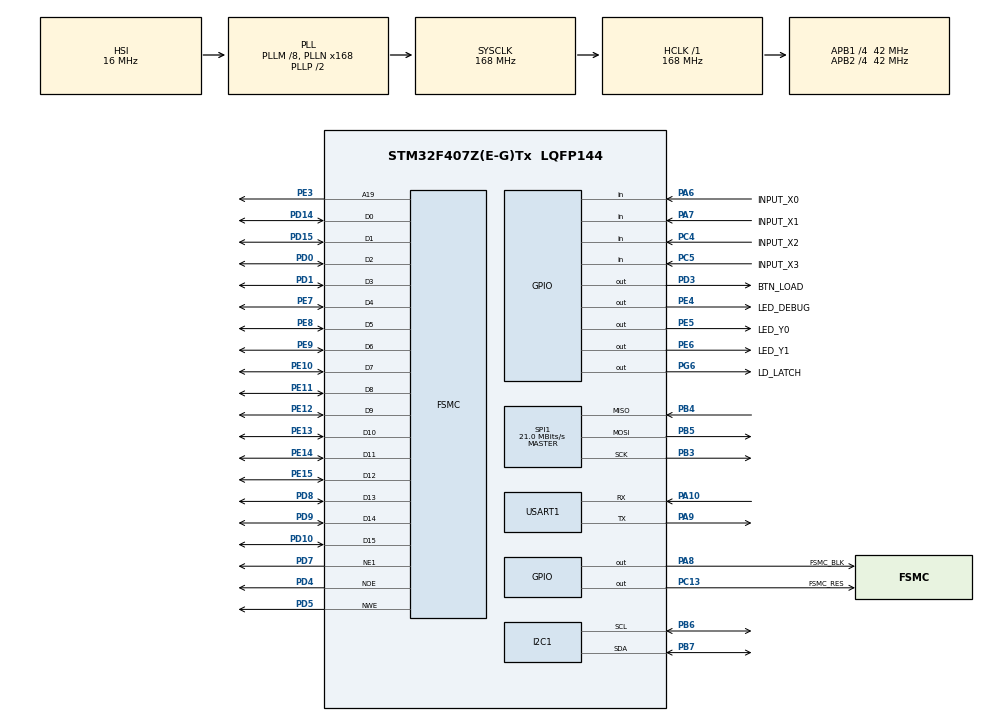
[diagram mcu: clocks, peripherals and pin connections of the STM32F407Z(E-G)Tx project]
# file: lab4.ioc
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FSMC.AddressSetupTime1=0xf
FSMC.BusTurnAroundDuration1=0
FSMC.DataSetupTime1=60
FSMC.ExtendedAddressSetupTime1=8
FSMC.ExtendedBusTurnAroundDuration1=0
FSMC.ExtendedDataSetupTime1=9
FSMC.ExtendedMode1=FSMC_EXTENDED_MODE_ENABLE
Mcu.Family=STM32F4
Mcu.Name=STM32F407Z(E-G)Tx
Mcu.Package=LQFP144
NVIC.PriorityGroup=NVIC_PRIORITYGROUP_4
NVIC.TIM2_IRQn=true\:0\:0\:false\:false\:true\:true\:true\:true
NVIC.TIM4_IRQn=true\:0\:0\:false\:false\:true\:true\:true\:true
NVIC.USART1_IRQn=true\:0\:0\:false\:false\:true\:true\:true\:true
PA10.Mode=Asynchronous
PA10.Signal=USART1_RX
PA13.Mode=Serial_Wire
PA13.Signal=SYS_JTMS-SWDIO
PA14.Mode=Serial_Wire
PA14.Signal=SYS_JTCK-SWCLK
PA6.GPIO_Label=INPUT_X0
PA6.Signal=GPIO_Input
PA7.GPIO_Label=INPUT_X1
PA7.Signal=GPIO_Input
PA8.GPIO_Label=FSMC_BLK
PA8.Signal=GPIO_Output
PA9.Mode=Asynchronous
PA9.Signal=USART1_TX
PB3.Mode=Full_Duplex_Master
PB3.Signal=SPI1_SCK
PB4.Mode=Full_Duplex_Master
PB4.Signal=SPI1_MISO
PB5.Mode=Full_Duplex_Master
PB5.Signal=SPI1_MOSI
PB6.Mode=I2C
PB6.Signal=I2C1_SCL
PB7.Mode=I2C
PB7.Signal=I2C1_SDA
PC13-ANTI_TAMP.GPIO_Label=FSMC_RES
PC13-ANTI_TAMP.Signal=GPIO_Output
PC4.GPIO_Label=INPUT_X2
PC4.Signal=GPIO_Input
PC5.GPIO_Label=INPUT_X3
PC5.Signal=GPIO_Input
PD0.Signal=FSMC_D2_DA2
PD1.Signal=FSMC_D3_DA3
PD10.Signal=FSMC_D15_DA15
PD14.Signal=FSMC_D0_DA0
PD15.Signal=FSMC_D1_DA1
PD3.GPIO_Label=BTN_LOAD
PD3.Signal=GPIO_Output
PD4.Signal=FSMC_NOE
PD5.Signal=FSMC_NWE
PD7.Mode=NorPsramChipSelect1_1
PD7.Signal=FSMC_NE1
PD8.Signal=FSMC_D13_DA13
PD9.Signal=FSMC_D14_DA14
PE10.Signal=FSMC_D7_DA7
PE11.Signal=FSMC_D8_DA8
PE12.Signal=FSMC_D9_DA9
PE13.Signal=FSMC_D10_DA10
PE14.Signal=FSMC_D11_DA11
PE15.Signal=FSMC_D12_DA12
PE3.Signal=FSMC_A19
PE4.GPIO_Label=LED_DEBUG
PE4.Signal=GPIO_Output
PE5.GPIO_Label=LED_Y0
PE5.Signal=GPIO_Output
PE6.GPIO_Label=LED_Y1
PE6.Signal=GPIO_Output
PE7.Signal=FSMC_D4_DA4
PE8.Signal=FSMC_D5_DA5
PE9.Signal=FSMC_D6_DA6
PG6.GPIO_Label=LD_LATCH
PG6.Signal=GPIO_Output
PH0-OSC_IN.Mode=HSE-External-Oscillator
PH0-OSC_IN.Signal=RCC_OSC_IN
PH1-OSC_OUT.Mode=HSE-External-Oscillator
PH1-OSC_OUT.Signal=RCC_OSC_OUT
ProjectManager.HeapSize=0x200
ProjectManager.StackSize=0x400
ProjectManager.TargetToolchain=STM32CubeIDE
RCC.48MHZClocksFreq_Value=84000000
RCC.AHBFreq_Value=168000000
RCC.APB1CLKDivider=RCC_HCLK_DIV4
RCC.APB1Freq_Value=42000000
RCC.APB1TimFreq_Value=84000000
RCC.APB2CLKDivider=RCC_HCLK_DIV4
RCC.APB2Freq_Value=42000000
RCC.APB2TimFreq_Value=84000000
RCC.CortexFreq_Value=168000000
RCC.HCLKFreq_Value=168000000
RCC.HSE_VALUE=8000000
RCC.HSI_VALUE=16000000
RCC.LSE_VALUE=32768
RCC.PLLM=8
RCC.PLLN=168
RCC.SYSCLKFreq_VALUE=168000000
RCC.SYSCLKSource=RCC_SYSCLKSOURCE_PLLCLK
RCC.VCOOutputFreq_Value=336000000
SH.FSMC_A19.0=FSMC_A19,A19_1
SH.FSMC_D0_DA0.0=FSMC_D0,16b-d1
SH.FSMC_D10_DA10.0=FSMC_D10,16b-d1
SH.FSMC_D11_DA11.0=FSMC_D11,16b-d1
SH.FSMC_D12_DA12.0=FSMC_D12,16b-d1
SH.FSMC_D13_DA13.0=FSMC_D13,16b-d1
SH.FSMC_D14_DA14.0=FSMC_D14,16b-d1
SH.FSMC_D15_DA15.0=FSMC_D15,16b-d1
SH.FSMC_D1_DA1.0=FSMC_D1,16b-d1
SH.FSMC_D2_DA2.0=FSMC_D2,16b-d1
SH.FSMC_D3_DA3.0=FSMC_D3,16b-d1
SH.FSMC_D4_DA4.0=FSMC_D4,16b-d1
SH.FSMC_D5_DA5.0=FSMC_D5,16b-d1
SH.FSMC_D6_DA6.0=FSMC_D6,16b-d1
SH.FSMC_D7_DA7.0=FSMC_D7,16b-d1
SH.FSMC_D8_DA8.0=FSMC_D8,16b-d1
SH.FSMC_D9_DA9.0=FSMC_D9,16b-d1
SH.FSMC_NOE.0=FSMC_NOE,Lcd1
SH.FSMC_NWE.0=FSMC_NWE,Lcd1
SPI1.CalculateBaudRate=21.0 MBits/s
SPI1.Direction=SPI_DIRECTION_2LINES
SPI1.Mode=SPI_MODE_MASTER
SPI1.VirtualType=VM_MASTER
TIM2.Period=10-1
TIM2.Prescaler=8400-1
TIM4.Period=10-1
TIM4.Prescaler=8400-1
USART1.VirtualMode=VM_ASYNC
VP_TIM2_VS_ClockSourceINT.Mode=Internal
VP_TIM4_VS_ClockSourceINT.Mode=Internal
board=custom

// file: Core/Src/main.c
/* USER CODE BEGIN Header */
/**
  ******************************************************************************
  * @file           : main.c
  * @brief          : Main program body
  ******************************************************************************
  * @attention
  *
  * Copyright (c) 2024 STMicroelectronics.
  * All rights reserved.
  *
  * This software is licensed under terms that can be found in the LICENSE file
  * in the root directory of this software component.
  * If no LICENSE file comes with this software, it is provided AS-IS.
  *
  ******************************************************************************
  */
/* USER CODE END Header */
#include "main.h"
#include "i2c.h"
#include "spi.h"
#include "tim.h"
#include "usart.h"
#include "gpio.h"
#include "fsmc.h"

/* USER CODE BEGIN Includes */
#include "sTimer.h"
#include "ds3231.h"
#include "lcd.h"
#include "led7Seg.h"
#include "button.h"
#include <math.h>
#include <string.h>
#include <stdint.h>

/* USER CODE END Includes */

/* USER CODE BEGIN PD */
#define PI 3.14159265358979323846

/* USER CODE END PD */

void SystemClock_Config(void);
/* USER CODE BEGIN PFP */
void debugSystem(void);
void initSystem(void);
void displayClock(int x_coor, int y_coor, int radius);
void displayLocation(int y_coor, char *str, char *GMT_str, uint8_t char_size);

float displaySecClockwise(int x_coor, int y_coor, int length, const uint8_t *second, uint16_t color);
float displayMinClockwise(int x_coor, int y_coor, int length, const uint8_t *second, const uint8_t *minute, uint16_t color);
float displayHourClockwise(int x_coor, int y_coor, int length, const uint8_t *minute, const uint8_t *hour, uint16_t color);

void displayTime(int x_coor, int y_coor, const uint8_t *second, const uint8_t *minute, const uint8_t *hour,
		uint8_t char_size, uint16_t color_sec, uint16_t color_min, uint16_t color_hour);
void displayDate(int x_coor, int y_coor, const uint8_t *date, const uint8_t *month, const uint16_t *year,
		uint8_t char_size, uint16_t color_date, uint16_t color_month, uint16_t color_year);
void displayTemp(int x_coor, int y_coor, float temperature, uint8_t char_size, uint16_t color_temp);
void displayDay(int x_coor, int y_coor, const uint8_t *day, uint8_t char_size, uint16_t color_day);

void displayTimeLed7Seg(const uint8_t *second, const uint8_t *minute, const uint8_t *hour);
void setTime(uint8_t *second, uint8_t *minute, uint8_t *hour, uint8_t *day, uint8_t *date, uint8_t *month, uint16_t *year);
void setAlarm1(uint8_t second, uint8_t minute, uint8_t hour, uint8_t day, uint8_t date);
void setAlarm2(uint8_t minute, uint8_t hour, uint8_t day, uint8_t date);

void increaseSec(void);
void decreaseSec(void);
void increaseMin(void);
void decreaseMin(void);
void increaseHour(void);
void decreaseHour(void);
void increaseDay(void);
void decreaseDay(void);
void increaseDate(void);
void decreaseDate(void);
void increaseMonth(void);
void decreaseMonth(void);
void increaseYear(void);
void decreaseYear(void);
int getDaysInMonth(int month, int year);

/* USER CODE END PFP */

/* USER CODE BEGIN 0 */
enum State
{
    Mode_init,
    Mode_word_clock,
	Mode_login,
    Mode_config_time,
    Mode_config_alarm,
	Mode_stopwatch,
	Mode_timers,
	Mode_monitor_register
};
enum State current_mode = Mode_init;
enum State previous_mode = Mode_init;

enum State_config
{
	Mode_config_second,
	Mode_config_minute,
	Mode_config_hour,
	Mode_config_day,
	Mode_config_date,
	Mode_config_month,
	Mode_config_year
};
enum State_config current_mode_config = Mode_config_second;
enum State_config previous_mode_config = Mode_config_minute;

/* USER CODE END 0 */

int main(void)
{

  /* MCU Configuration--------------------------------------------------------*/

  /* Reset of all peripherals, Initializes the Flash interface and the Systick. */
  HAL_Init();

  /* Configure the system clock */
  SystemClock_Config();

  /* Initialize all configured peripherals */
  MX_GPIO_Init();
  MX_TIM2_Init();
  MX_TIM4_Init();
  MX_SPI1_Init();
  MX_FSMC_Init();
  MX_I2C1_Init();
  MX_USART1_UART_Init();
  /* USER CODE BEGIN 2 */
  initSystem();

  sTimer4Set(1000, 50); // interrupt every 50ms
  sTimer2Set(0, 500); // interrupt every 500ms

  int clock_radius = 100;

  /* USER CODE END 2 */

  /* Infinite loop */
  /* USER CODE BEGIN WHILE */
  while (1)
  {
	  if(sTimer4GetFlag())
	  {
		  buttonScan();
		  led7SegDisplay();
	  }

	  switch (current_mode)
	  {
	  case Mode_init:
	  {
		  led7SegSetColon(1);
		  setTime(&set_time.second, &set_time.minute, &set_time.hour, &set_time.day, &set_time.date, &set_time.month, &set_time.year);

		  current_time.alarm_on = false;

		  current_mode = Mode_config_time;

		  break;
	  }
	  case Mode_word_clock:
	  {
		  if(previous_mode != current_mode)
		  {
			  lcdClear(WHITE);
			  clock_radius = 100;
			  displayClock(LCD_WIDTH / 2, 110, clock_radius);

			  (void)displaySecClockwise(LCD_WIDTH / 2, 110, clock_radius - 30, &current_time.second, BLUE);
			  (void)displayMinClockwise(LCD_WIDTH / 2, 110, clock_radius - 40, &current_time.second, &current_time.minute, BLACK);
			  (void)displayHourClockwise(LCD_WIDTH / 2, 110, clock_radius - 50, &current_time.minute, &current_time.hour, RED);

			  displayTime(LCD_WIDTH / 2, 240, &current_time.second, &current_time.minute, &current_time.hour, 32, BLACK, BLACK, BLACK);
			  displayDate(LCD_WIDTH / 2, 240 + 32, &current_time.date, &current_time.month, &current_time.year, 24, DARKBLUE, DARKBLUE, DARKBLUE);
			  displayDay(20, 320 - 10 - 24, &current_time.day, 24, RED);

			  previous_mode = current_mode;
		  }

		  if(sTimer2GetFlag())
		  {
			  debugSystem();

			  ds3231ReadTime();

			  (void)displaySecClockwise(LCD_WIDTH / 2, 110, clock_radius - 30, &current_time.second, BLUE);
			  (void)displayMinClockwise(LCD_WIDTH / 2, 110, clock_radius - 40, &current_time.second, &current_time.minute, BLACK);
			  (void)displayHourClockwise(LCD_WIDTH / 2, 110, clock_radius - 50, &current_time.minute, &current_time.hour, RED);

			  displayTime(LCD_WIDTH / 2, 240, &current_time.second, &current_time.minute, &current_time.hour, 32, BLACK, BLACK, BLACK);
			  if(current_time.second == 0 && current_time.minute == 0 && current_time.hour == 0)
			  {
				  displayDate(LCD_WIDTH / 2, 240 + 32, &current_time.date, &current_time.month, &current_time.year, 24, DARKBLUE, DARKBLUE, DARKBLUE);
				  displayDay(20, 320 - 34, &current_time.day, 24, RED);
			  }

			  displayTimeLed7Seg(&current_time.second, &current_time.minute, &current_time.hour);
		  }

		  if(button_count[12] == 1)
		  {
			  current_mode = Mode_config_time;
			  button_count[12] += 1;
		  }

		  break;
	  }
	  case Mode_config_time:
	  {
		  if(previous_mode != current_mode)
		  {
			  ds3231ReadTime();
			  set_time.second = current_time.second;
			  set_time.minute = current_time.minute;
			  set_time.hour = current_time.hour;
			  set_time.day = current_time.day;
			  set_time.date = current_time.date;
			  set_time.month = current_time.month;
			  set_time.year = current_time.year;

			  lcdClear(WHITE);
			  clock_radius = 100;
			  displayClock(LCD_WIDTH / 2, 110, clock_radius);

			  current_mode_config = Mode_config_second;
			  previous_mode_config = Mode_config_minute;

			  previous_mode = current_mode;
		  }

		  switch (current_mode_config)
		  {
			case Mode_config_second:
			{
				if(previous_mode_config != current_mode_config)
				{
					(void)displayMinClockwise(LCD_WIDTH / 2, 110, clock_radius - 40, &set_time.second, &set_time.minute, BLACK);
					(void)displayHourClockwise(LCD_WIDTH / 2, 110, clock_radius - 50, &set_time.minute, &set_time.hour, BLUE);
					(void)displaySecClockwise(LCD_WIDTH / 2, 110, clock_radius - 30, &set_time.second, RED);

					displayTime(LCD_WIDTH / 2, 240, &set_time.second, &set_time.minute, &set_time.hour, 32, RED, BLACK, BLACK);
					displayDate(LCD_WIDTH / 2, 240 + 32, &set_time.date, &set_time.month, &set_time.year, 24, DARKBLUE, DARKBLUE, DARKBLUE);
					displayDay(20, 320 - 10 - 24, &set_time.day, 24, DARKBLUE);

					displayTimeLed7Seg(&set_time.second, &set_time.minute, &set_time.hour);

					previous_mode_config = current_mode_config;
				}

				if(sTimer2GetFlag())
				{
					static int counter = 0;
					counter += 1;

					if(counter % 4 == 0)
					{
						led7SegDebugTurnOff(6);
						led7SegDebugTurnOff(7);
						led7SegDebugTurnOff(8);
					}
					else if(counter % 2 == 0)
					{
						displayTimeLed7Seg(&set_time.second, &set_time.minute, &set_time.hour);
					}
				}

				if(button_count[11] % 30 == 1) // check button is held 1.5 second
				{
					current_mode_config = Mode_config_minute;
					button_count[11] += 1;
				}
				else if(button_count[3] % 20 == 1)
				{
					increaseSec();

					(void)displayMinClockwise(LCD_WIDTH / 2, 110, clock_radius - 40, &set_time.second, &set_time.minute, BLACK);
					(void)displayHourClockwise(LCD_WIDTH / 2, 110, clock_radius - 50, &set_time.minute, &set_time.hour, BLUE);
					(void)displaySecClockwise(LCD_WIDTH / 2, 110, clock_radius - 30, &set_time.second, RED);

				    displayTime(LCD_WIDTH / 2, 240, &set_time.second, &set_time.minute, &set_time.hour, 32, RED, BLACK, BLACK);

					button_count[3] += 1;
				}
				else if(button_count[7] % 20 == 1)
				{
					decreaseSec();

					(void)displayMinClockwise(LCD_WIDTH / 2, 110, clock_radius - 40, &set_time.second, &set_time.minute, BLACK);
					(void)displayHourClockwise(LCD_WIDTH / 2, 110, clock_radius - 50, &set_time.minute, &set_time.hour, BLUE);
					(void)displaySecClockwise(LCD_WIDTH / 2, 110, clock_radius - 30, &set_time.second, RED);

				    displayTime(LCD_WIDTH / 2, 240, &set_time.second, &set_time.minute, &set_time.hour, 32, RED, BLACK, BLACK);

					button_count[7] += 1;
				}

				break;
			}
			case Mode_config_minute:
			{
				if(previous_mode_config != current_mode_config)
				{
					(void)displaySecClockwise(LCD_WIDTH / 2, 110, clock_radius - 30, &set_time.second, BLACK);
					(void)displayHourClockwise(LCD_WIDTH / 2, 110, clock_radius - 50, &set_time.minute, &set_time.hour, BLUE);
					(void)displayMinClockwise(LCD_WIDTH / 2, 110, clock_radius - 40, &set_time.second, &set_time.minute, RED);

					displayTime(LCD_WIDTH / 2, 240, &set_time.second, &set_time.minute, &set_time.hour, 32, BLACK, RED, BLACK);
					displayDate(LCD_WIDTH / 2, 240 + 32, &set_time.date, &set_time.month, &set_time.year, 24, DARKBLUE, DARKBLUE, DARKBLUE);
					displayDay(20, 320 - 10 - 24, &set_time.day, 24, DARKBLUE);

					displayTimeLed7Seg(&set_time.second, &set_time.minute, &set_time.hour);

					previous_mode_config = current_mode_config;
				}

				if(sTimer2GetFlag())
				{
					static int counter = 0;
					counter += 1;

					if(counter % 4 == 0)
					{
						led7SegTurnOff(2);
						led7SegTurnOff(3);
					}
					else if(counter % 2 == 0)
					{
						displayTimeLed7Seg(&set_time.second, &set_time.minute, &set_time.hour);
					}
				}

				if(button_count[11] % 30 == 1) // check button is held 1.5 second
				{
					current_mode_config = Mode_config_hour;
					button_count[11] += 1;
				}
				else if(button_count[15] % 30 == 1)
				{
					current_mode_config = Mode_config_second;
					button_count[15] += 1;
				}
				else if(button_count[3] % 20 == 1)
				{
					increaseMin();

					(void)displaySecClockwise(LCD_WIDTH / 2, 110, clock_radius - 30, &set_time.second, BLACK);
					(void)displayHourClockwise(LCD_WIDTH / 2, 110, clock_radius - 50, &set_time.minute, &set_time.hour, BLUE);
					(void)displayMinClockwise(LCD_WIDTH / 2, 110, clock_radius - 40, &set_time.second, &set_time.minute, RED);

					displayTime(LCD_WIDTH / 2, 240, &set_time.second, &set_time.minute, &set_time.hour, 32, BLACK, RED, BLACK);

					button_count[3] += 1;
				}
				else if(button_count[7] % 20 == 1)
				{
					decreaseMin();

					(void)displaySecClockwise(LCD_WIDTH / 2, 110, clock_radius - 30, &set_time.second, BLACK);
					(void)displayHourClockwise(LCD_WIDTH / 2, 110, clock_radius - 50, &set_time.minute, &set_time.hour, BLUE);
					(void)displayMinClockwise(LCD_WIDTH / 2, 110, clock_radius - 40, &set_time.second, &set_time.minute, RED);

					displayTime(LCD_WIDTH / 2, 240, &set_time.second, &set_time.minute, &set_time.hour, 32, BLACK, RED, BLACK);

					button_count[7] += 1;
				}

				break;
			}
			case Mode_config_hour:
			{
				if(previous_mode_config != current_mode_config)
				{
					(void)displaySecClockwise(LCD_WIDTH / 2, 110, clock_radius - 30, &set_time.second, BLACK);
					(void)displayMinClockwise(LCD_WIDTH / 2, 110, clock_radius - 40, &set_time.second, &set_time.minute, BLUE);
					(void)displayHourClockwise(LCD_WIDTH / 2, 110, clock_radius - 50, &set_time.minute, &set_time.hour, RED);

					displayTime(LCD_WIDTH / 2, 240, &set_time.second, &set_time.minute, &set_time.hour, 32, BLACK, BLACK, RED);
					displayDate(LCD_WIDTH / 2, 240 + 32, &set_time.date, &set_time.month, &set_time.year, 24, DARKBLUE, DARKBLUE, DARKBLUE);
					displayDay(20, 320 - 10 - 24, &set_time.day, 24, DARKBLUE);

					displayTimeLed7Seg(&set_time.second, &set_time.minute, &set_time.hour);

					previous_mode_config = current_mode_config;
				}

				if(sTimer2GetFlag())
				{
					static int counter = 0;
					counter += 1;

					if(counter % 4 == 0)
					{
						led7SegTurnOff(0);
						led7SegTurnOff(1);
					}
					else if(counter % 2 == 0)
					{
						displayTimeLed7Seg(&set_time.second, &set_time.minute, &set_time.hour);
					}
				}

				if(button_count[11] % 30 == 1) // check button is held 1.5 second
				{
					current_mode_config = Mode_config_day;
					button_count[11] += 1;
				}
				else if(button_count[15] % 30 == 1)
				{
					current_mode_config = Mode_config_minute;
					button_count[15] += 1;
				}
				else if(button_count[3] % 20 == 1) // check button is held 1 second
				{
					increaseHour();

					(void)displaySecClockwise(LCD_WIDTH / 2, 110, clock_radius - 30, &set_time.second, BLACK);
					(void)displayMinClockwise(LCD_WIDTH / 2, 110, clock_radius - 40, &set_time.second, &set_time.minute, BLUE);
					(void)displayHourClockwise(LCD_WIDTH / 2, 110, clock_radius - 50, &set_time.minute, &set_time.hour, RED);

					displayTime(LCD_WIDTH / 2, 240, &set_time.second, &set_time.minute, &set_time.hour, 32, BLACK, BLACK, RED);

					button_count[3] += 1;
				}
				else if(button_count[7] % 20 == 1)
				{
					decreaseHour();

					(void)displaySecClockwise(LCD_WIDTH / 2, 110, clock_radius - 30, &set_time.second, BLACK);
					(void)displayMinClockwise(LCD_WIDTH / 2, 110, clock_radius - 40, &set_time.second, &set_time.minute, BLUE);
					(void)displayHourClockwise(LCD_WIDTH / 2, 110, clock_radius - 50, &set_time.minute, &set_time.hour, RED);

					displayTime(LCD_WIDTH / 2, 240, &set_time.second, &set_time.minute, &set_time.hour, 32, BLACK, BLACK, RED);

					button_count[7] += 1;
				}

				break;
			}
			case Mode_config_day:
			{
				if(previous_mode_config != current_mode_config)
				{
					(void)displaySecClockwise(LCD_WIDTH / 2, 110, clock_radius - 30, &set_time.second, BLACK);
					(void)displayMinClockwise(LCD_WIDTH / 2, 110, clock_radius - 40, &set_time.second, &set_time.minute, BLUE);
					(void)displayHourClockwise(LCD_WIDTH / 2, 110, clock_radius - 50, &set_time.minute, &set_time.hour, RED);

					displayTime(LCD_WIDTH / 2, 240, &set_time.second, &set_time.minute, &set_time.hour, 32, BLACK, BLACK, BLACK);
					displayDate(LCD_WIDTH / 2, 240 + 32, &set_time.date, &set_time.month, &set_time.year, 24, DARKBLUE, DARKBLUE, DARKBLUE);
					displayDay(20, 320 - 10 - 24, &set_time.day, 24, RED);

					displayTimeLed7Seg(&set_time.second, &set_time.minute, &set_time.hour);

					previous_mode_config = current_mode_config;
				}

				if(button_count[11] % 30 == 1) // check button is held 1.5 second
				{
					current_mode_config = Mode_config_date;
					button_count[11] += 1;
				}
				else if(button_count[15] % 30 == 1)
				{
					current_mode_config = Mode_config_hour;
					button_count[15] += 1;
				}
				else if(button_count[3] % 20 == 1) // check button is held 1 second
				{
					increaseDay();

					displayDay(20, 320 - 10 - 24, &set_time.day, 24, RED);

					button_count[3] += 1;
				}
				else if(button_count[7] % 20 == 1)
				{
					decreaseDay();

					displayDay(20, 320 - 10 - 24, &set_time.day, 24, RED);

					button_count[7] += 1;
				}

				break;
			}
			case Mode_config_date:
			{
				if(previous_mode_config != current_mode_config)
				{
					(void)displaySecClockwise(LCD_WIDTH / 2, 110, clock_radius - 30, &set_time.second, BLACK);
					(void)displayMinClockwise(LCD_WIDTH / 2, 110, clock_radius - 40, &set_time.second, &set_time.minute, BLUE);
					(void)displayHourClockwise(LCD_WIDTH / 2, 110, clock_radius - 50, &set_time.minute, &set_time.hour, RED);

					displayTime(LCD_WIDTH / 2, 240, &set_time.second, &set_time.minute, &set_time.hour, 32, BLACK, BLACK, BLACK);
					displayDate(LCD_WIDTH / 2, 240 + 32, &set_time.date, &set_time.month, &set_time.year, 24, RED, DARKBLUE, DARKBLUE);
					displayDay(20, 320 - 10 - 24, &set_time.day, 24, DARKBLUE);

					displayTimeLed7Seg(&set_time.second, &set_time.minute, &set_time.hour);

					previous_mode_config = current_mode_config;
				}

				if(button_count[11] % 30 == 1) // check button is held 1.5 second
				{
					current_mode_config = Mode_config_month;
					button_count[11] += 1;
				}
				else if(button_count[15] % 30 == 1)
				{
					current_mode_config = Mode_config_day;
					button_count[15] += 1;
				}
				else if(button_count[3] % 20 == 1) // check button is held 1 second
				{
					increaseDate();

					displayDate(LCD_WIDTH / 2, 240 + 32, &set_time.date, &set_time.month, &set_time.year, 24, RED, DARKBLUE, DARKBLUE);

					button_count[3] += 1;
				}
				else if(button_count[7] % 20 == 1)
				{
					decreaseDate();

					displayDate(LCD_WIDTH / 2, 240 + 32, &set_time.date, &set_time.month, &set_time.year, 24, RED, DARKBLUE, DARKBLUE);

					button_count[7] += 1;
				}

				break;
			}
			case Mode_config_month:
			{
				if(previous_mode_config != current_mode_config)
				{
					(void)displaySecClockwise(LCD_WIDTH / 2, 110, clock_radius - 30, &set_time.second, BLACK);
					(void)displayMinClockwise(LCD_WIDTH / 2, 110, clock_radius - 40, &set_time.second, &set_time.minute, BLUE);
					(void)displayHourClockwise(LCD_WIDTH / 2, 110, clock_radius - 50, &set_time.minute, &set_time.hour, RED);

					displayTime(LCD_WIDTH / 2, 240, &set_time.second, &set_time.minute, &set_time.hour, 32, BLACK, BLACK, BLACK);
					displayDate(LCD_WIDTH / 2, 240 + 32, &set_time.date, &set_time.month, &set_time.year, 24, DARKBLUE, RED, DARKBLUE);
					displayDay(20, 320 - 10 - 24, &set_time.day, 24, DARKBLUE);

					displayTimeLed7Seg(&set_time.second, &set_time.minute, &set_time.hour);

					previous_mode_config = current_mode_config;
				}

				if(button_count[11] % 30 == 1) // check button is held 1.5 second
				{
					current_mode_config = Mode_config_year;
					button_count[11] += 1;
				}
				else if(button_count[15] % 30 == 1)
				{
					current_mode_config = Mode_config_date;
					button_count[15] += 1;
				}
				else if(button_count[3] % 20 == 1) // check button is held 1 second
				{
					increaseMonth();

					displayDate(LCD_WIDTH / 2, 240 + 32, &set_time.date, &set_time.month, &set_time.year, 24, DARKBLUE, RED, DARKBLUE);

					button_count[3] += 1;
				}
				else if(button_count[7] % 20 == 1)
				{
					decreaseMonth();

					displayDate(LCD_WIDTH / 2, 240 + 32, &set_time.date, &set_time.month, &set_time.year, 24, DARKBLUE, RED, DARKBLUE);

					button_count[7] += 1;
				}

				break;
			}
			case Mode_config_year:
			{
				if(previous_mode_config != current_mode_config)
				{
					(void)displaySecClockwise(LCD_WIDTH / 2, 110, clock_radius - 30, &set_time.second, BLACK);
					(void)displayMinClockwise(LCD_WIDTH / 2, 110, clock_radius - 40, &set_time.second, &set_time.minute, BLUE);
					(void)displayHourClockwise(LCD_WIDTH / 2, 110, clock_radius - 50, &set_time.minute, &set_time.hour, RED);

					displayTime(LCD_WIDTH / 2, 240, &set_time.second, &set_time.minute, &set_time.hour, 32, BLACK, BLACK, BLACK);
					displayDate(LCD_WIDTH / 2, 240 + 32, &set_time.date, &set_time.month, &set_time.year, 24, DARKBLUE, DARKBLUE, RED);
					displayDay(20, 320 - 10 - 24, &set_time.day, 24, DARKBLUE);

					displayTimeLed7Seg(&set_time.second, &set_time.minute, &set_time.hour);

					previous_mode_config = current_mode_config;
				}

				if(button_count[15] % 30 == 1)
				{
					current_mode_config = Mode_config_month;
					button_count[15] += 1;
				}
				else if(button_count[3] % 20 == 1) // check button is held 1 second
				{
					increaseYear();

					displayDate(LCD_WIDTH / 2, 240 + 32, &set_time.date, &set_time.month, &set_time.year, 24, DARKBLUE, DARKBLUE, RED);

					button_count[3] += 1;
				}
				else if(button_count[7] % 20 == 1)
				{
					decreaseYear();

					displayDate(LCD_WIDTH / 2, 240 + 32, &set_time.date, &set_time.month, &set_time.year, 24, DARKBLUE, DARKBLUE, RED);

					button_count[7] += 1;
				}

				break;
			}
		}

		if(button_count[12] == 1)
		{
		  setTime(&set_time.second, &set_time.minute, &set_time.hour, &set_time.day, &set_time.date, &set_time.month, &set_time.year);
		  current_mode = Mode_word_clock;
		  button_count[12] += 1;
		}
		else if(button_count[14] == 1)
		{
		  current_mode = Mode_word_clock;
		  button_count[14] += 1;
		}

		break;
	  }
	  case Mode_config_alarm:
	  {
		  break;
	  }
	  case Mode_stopwatch:
	  {
		  break;
	  }
	  case Mode_timers:
	  {
		  break;
	  }
	  case Mode_monitor_register:
	  {
		  break;
	  }
	  default:
	  {
		  current_mode = Mode_init;
	  }
	  }

    /* USER CODE END WHILE */

  }
}

void SystemClock_Config(void)
{
  RCC_OscInitTypeDef RCC_OscInitStruct = {0};
  RCC_ClkInitTypeDef RCC_ClkInitStruct = {0};

  /** Configure the main internal regulator output voltage
  */
  __HAL_RCC_PWR_CLK_ENABLE();
  __HAL_PWR_VOLTAGESCALING_CONFIG(PWR_REGULATOR_VOLTAGE_SCALE1);

  /** Initializes the RCC Oscillators according to the specified parameters
  * in the RCC_OscInitTypeDef structure.
  */
  RCC_OscInitStruct.OscillatorType = RCC_OSCILLATORTYPE_HSI;
  RCC_OscInitStruct.HSIState = RCC_HSI_ON;
  RCC_OscInitStruct.HSICalibrationValue = RCC_HSICALIBRATION_DEFAULT;
  RCC_OscInitStruct.PLL.PLLState = RCC_PLL_ON;
  RCC_OscInitStruct.PLL.PLLSource = RCC_PLLSOURCE_HSI;
  RCC_OscInitStruct.PLL.PLLM = 8;
  RCC_OscInitStruct.PLL.PLLN = 168;
  RCC_OscInitStruct.PLL.PLLP = RCC_PLLP_DIV2;
  RCC_OscInitStruct.PLL.PLLQ = 4;
  if (HAL_RCC_OscConfig(&RCC_OscInitStruct) != HAL_OK)
  {
    Error_Handler();
  }

  /** Initializes the CPU, AHB and APB buses clocks
  */
  RCC_ClkInitStruct.ClockType = RCC_CLOCKTYPE_HCLK|RCC_CLOCKTYPE_SYSCLK
                              |RCC_CLOCKTYPE_PCLK1|RCC_CLOCKTYPE_PCLK2;
  RCC_ClkInitStruct.SYSCLKSource = RCC_SYSCLKSOURCE_PLLCLK;
  RCC_ClkInitStruct.AHBCLKDivider = RCC_SYSCLK_DIV1;
  RCC_ClkInitStruct.APB1CLKDivider = RCC_HCLK_DIV4;
  RCC_ClkInitStruct.APB2CLKDivider = RCC_HCLK_DIV4;

  if (HAL_RCC_ClockConfig(&RCC_ClkInitStruct, FLASH_LATENCY_5) != HAL_OK)
  {
    Error_Handler();
  }
}

/* USER CODE BEGIN 4 */
void debugSystem()
{
	HAL_GPIO_TogglePin(GPIOE, LED_DEBUG_Pin);
}
void initSystem()
{
	initTimer2();
	initTimer4();
	initLCD();
	initLed7Seg();
	initds3231();
	initButton();
}
void setTime(uint8_t *second, uint8_t *minute, uint8_t *hour, uint8_t *day, uint8_t *date, uint8_t *month, uint16_t *year)
{
	ds3231SetSec(*second);
	ds3231SetMin(*minute);
	ds3231SetHour(*hour);
	ds3231SetDay(*day);
	ds3231SetDate(*date);
	ds3231SetMonth(*month);
	ds3231SetYear(*year);
}

void displayClock(int x_coor, int y_coor, int radius)
{
    const uint8_t char_size = 24;

    lcdDrawCircle(x_coor, y_coor, DARKBLUE, radius + 2, 1);
	lcdDrawCircle(x_coor, y_coor, WHITE, radius, 1);

    for (int i = 0; i < 12; i++)
    {
        float angle = (i * 30) * (PI / 180); // Convert angle to radians
        int x = x_coor + (radius - 15) * sin(angle);
        int y = y_coor + (radius - 15) * -cos(angle);

        lcdShowIntNumCenter(x, y, ((i == 0) ? 12 : i), 2, BLACK, WHITE, char_size, 1);
    }
}

/**
 * @brief this function draw new clockwise and erased old clockwise
 * @param x_coor, y_coor center of clock
 * @param length length of clockwise
 * @param *second, *minute a pointer to variable store time value
 * @param color color of clockwise
 * @return float angle of clockwise
 */
float displaySecClockwise(int x_coor, int y_coor, int length, const uint8_t *second, uint16_t color)
{
	static float angle_sec;
	int x, y;

    x = x_coor + (length) * sin(angle_sec);
    y = y_coor + (length) * -cos(angle_sec);
    lcdDrawLine(x_coor, y_coor, x, y, WHITE);

    angle_sec = (*second * 6) * (PI / 180);
    x = x_coor + (length) * sin(angle_sec);
    y = y_coor + (length) * -cos(angle_sec);
    lcdDrawLine(x_coor, y_coor, x, y, color);

	return angle_sec;
}
float displayMinClockwise(int x_coor, int y_coor, int length, const uint8_t *second, const uint8_t *minute, uint16_t color)
{
	static float angle_min;
	int x, y;

	x = x_coor + (length) * sin(angle_min);
	y = y_coor + (length) * -cos(angle_min);
	lcdDrawLine(x_coor, y_coor, x, y, WHITE);

    angle_min = ((*minute + *second / 60.0) * 6) * (PI / 180);
    x = x_coor + (length) * sin(angle_min);
    y = y_coor + (length) * -cos(angle_min);
    lcdDrawLine(x_coor, y_coor, x, y, color);

    return angle_min;
}
float displayHourClockwise(int x_coor, int y_coor, int length, const uint8_t *minute, const uint8_t *hour, uint16_t color)
{
	static float angle_hour;
	int x, y;

	x = x_coor + (length) * sin(angle_hour);
	y = y_coor + (length) * -cos(angle_hour);
	lcdDrawLine(x_coor, y_coor, x, y, WHITE);

    angle_hour = ((*hour % 12 + *minute / 60.0) * 30) * (PI / 180); // 360 degrees / 12 hours = 30 degrees per hour
    x = x_coor + (length) * sin(angle_hour);
    y = y_coor + (length) * -cos(angle_hour);
    lcdDrawLine(x_coor, y_coor, x, y, color);

    return angle_hour;
}

void displayTime(int x_coor, int y_coor, const uint8_t *second, const uint8_t *minute, const uint8_t *hour,
		uint8_t char_size, uint16_t color_sec, uint16_t color_min, uint16_t color_hour)
{
	lcdShowIntNumCenter(x_coor - char_size * 2, y_coor, *hour, 2, color_hour, WHITE, char_size, 0);
	lcdShowIntNumCenter(x_coor, y_coor, *minute, 2, color_min, WHITE, char_size, 0);
	lcdShowIntNumCenter(x_coor + char_size * 2 , y_coor, *second, 2, color_sec, WHITE, char_size, 0);

	lcdShowStringCenter(x_coor + char_size, y_coor, ":", BLACK, WHITE, char_size, 1);
	lcdShowStringCenter(x_coor - (char_size * 2) + char_size, y_coor, ":", BLACK, WHITE, char_size, 1);
}

void displayDate(int x_coor, int y_coor, const uint8_t *date, const uint8_t *month, const uint16_t *year,
		uint8_t char_size, uint16_t color_date, uint16_t color_month, uint16_t color_year)
{
	lcdShowIntNumCenter(x_coor - char_size * 2, y_coor, *date, 2, color_date, WHITE, char_size, 0);
	lcdShowIntNumCenter(x_coor, y_coor, *month, 2, color_month, WHITE, char_size, 0);
	lcdShowIntNumCenter(x_coor + char_size * 2 + char_size / 2.0, y_coor, *year, 4, color_year, WHITE, char_size, 0);

	lcdShowStringCenter(x_coor + char_size, y_coor, "/", color_month, WHITE, char_size, 1);
	lcdShowStringCenter(x_coor - (char_size * 2) + char_size, y_coor, "/", color_month, WHITE, char_size, 1);
}

void displayTemp(int x_coor, int y_coor, float temperature, uint8_t char_size, uint16_t color_temp)
{
	lcdShowFloatNum(x_coor, y_coor, temperature, 4, color_temp, WHITE, char_size, 0);
	return;
}
void displayDay(int x_coor, int y_coor, const uint8_t *day, uint8_t char_size, uint16_t color_day)
{
	switch (*day)
	{
		case 1:
		{
			lcdShowString(x_coor, y_coor, "Sunday   ", color_day, WHITE, char_size, 0);
			break;
		}
		case 2:
		{
			lcdShowString(x_coor, y_coor, "Monday   ", color_day, WHITE, char_size, 0);
			break;
		}
		case 3:
		{
			lcdShowString(x_coor, y_coor, "Tuesday  ", color_day, WHITE, char_size, 0);
			break;
		}
		case 4:
		{
			lcdShowString(x_coor, y_coor, "Wednesday", color_day, WHITE, char_size, 0);
			break;
		}
		case 5:
		{
			lcdShowString(x_coor, y_coor, "Thursday ", color_day, WHITE, char_size, 0);
			break;
		}
		case 6:
		{
			lcdShowString(x_coor, y_coor, "Friday", color_day, WHITE, char_size, 0);
			break;
		}
		case 7:
		{
			lcdShowString(x_coor, y_coor, "Saturday", color_day, WHITE, char_size, 0);
			break;
		}
	}
	return;
}

void displayTimeLed7Seg(const uint8_t *second, const uint8_t *minute, const uint8_t *hour)
{
	if(((*second / 10) >> 0) & 0x01)
	{
		led7SegDebugTurnOn(6);
	}
	else
	{
		led7SegDebugTurnOff(6);
	}
	if(((*second / 10) >> 1) & 0x01)
	{
		led7SegDebugTurnOn(7);
	}
	else
	{
		led7SegDebugTurnOff(7);
	}
	if(((*second / 10) >> 2) & 0x01)
	{
		led7SegDebugTurnOn(8);
	}
	else
	{
		led7SegDebugTurnOff(8);
	}

	led7SegSetDigit(*hour / 10, 0, 0);
	led7SegSetDigit(*hour % 10, 1, 0);

	led7SegSetDigit(*minute / 10, 2, 0);
	led7SegSetDigit(*minute % 10, 3, 0);

	return;
}

void increaseSec()
{
    if (set_time.second < 59)
    {
        set_time.second += 1;
    }
    else
    {
        set_time.second = 0;
        if (set_time.minute < 59)
        {
            set_time.minute += 1;
        }
        else
        {
            set_time.minute = 0;
            if (set_time.hour < 23)
            {
                set_time.hour += 1;
            }
            else
            {
                set_time.hour = 0;
            }
        }
    }
}
void decreaseSec()
{
    if (set_time.second > 0)
    {
        set_time.second -= 1;
    }
    else
    {
        set_time.second = 59;
        if (set_time.minute > 0)
        {
            set_time.minute -= 1;
        }
        else
        {
            set_time.minute = 59;
            if (set_time.hour > 0)
            {
                set_time.hour -= 1;
            }
            else
            {
                set_time.hour = 23;
            }
        }
    }
}
void increaseMin()
{
    if (set_time.minute < 59)
    {
        set_time.minute += 1;
    }
    else
    {
        set_time.minute = 0;
        if (set_time.hour < 23)
        {
            set_time.hour += 1;
        }
        else
        {
            set_time.hour = 0;
        }
    }
}

void decreaseMin()
{
    if (set_time.minute > 0)
    {
        set_time.minute -= 1;
    }
    else
    {
        set_time.minute = 59;
        if (set_time.hour > 0)
        {
            set_time.hour -= 1;
        }
        else
        {
            set_time.hour = 23;
        }
    }
}

void increaseHour()
{
    if (set_time.hour < 23)
    {
        set_time.hour += 1;
    }
    else
    {
        set_time.hour = 0;
    }
}

void decreaseHour()
{
    if (set_time.hour > 0)
    {
        set_time.hour -= 1;
    }
    else
    {
        set_time.hour = 23;
    }
}

void increaseDay()
{
    if (set_time.day < 7)
    {
        set_time.day += 1;
    }
    else
    {
        set_time.day = 1;
    }
}

void decreaseDay()
{
    if (set_time.day > 1)
    {
        set_time.day -= 1;
    }
    else
    {
        set_time.day = 7;
    }
}
void increaseDate()
{
    int daysInMonth = getDaysInMonth(set_time.month, set_time.year);
    if (set_time.date < daysInMonth)
    {
        set_time.date += 1;
    }
    else
    {
        set_time.date = 1;
        if (set_time.month < 12)
        {
            set_time.month += 1;
        }
        else
        {
            set_time.month = 1;
            set_time.year += 1;
        }
    }
}

void decreaseDate()
{
    if (set_time.date > 1)
    {
        set_time.date -= 1;
    }
    else
    {
        if (set_time.month > 1)
        {
            set_time.month -= 1;
        }
        else
        {
            set_time.month = 12;
            set_time.year -= 1;
        }
        set_time.date = getDaysInMonth(set_time.month, set_time.year);
    }
}

void increaseMonth()
{
    if (set_time.month < 12)
    {
        set_time.month += 1;
    }
    else
    {
        set_time.month = 1;
        set_time.year += 1;
    }

    if(set_time.day > (uint8_t)(getDaysInMonth(set_time.month, set_time.year)))
	{
		set_time.day = (uint8_t)(getDaysInMonth(set_time.month, set_time.year));
	}
}

void decreaseMonth()
{
    if (set_time.month > 1)
    {
        set_time.month -= 1;
    }
    else
    {
        set_time.month = 12;
        set_time.year -= 1;
    }

    if(set_time.day > (uint8_t)(getDaysInMonth(set_time.month, set_time.year)))
	{
		set_time.day = (uint8_t)(getDaysInMonth(set_time.month, set_time.year));
	}
}

void increaseYear()
{
    set_time.year += 1;

    if(set_time.day > (uint8_t)(getDaysInMonth(set_time.month, set_time.year)))
	{
		set_time.day = (uint8_t)(getDaysInMonth(set_time.month, set_time.year));
	}
}

void decreaseYear()
{
    if (set_time.year > 0) // Assuming year 0 is a valid boundary
    {
        set_time.year -= 1;
    }

    if(set_time.day > (uint8_t)(getDaysInMonth(set_time.month, set_time.year)))
    {
        set_time.day = (uint8_t)(getDaysInMonth(set_time.month, set_time.year));
    }
}

// Helper function to get the number of days in a month
int getDaysInMonth(int month, int year)
{
    switch (month)
    {
        case 1: case 3: case 5: case 7: case 8: case 10: case 12:
        {
            return 31;
        }
        case 4: case 6: case 9: case 11:
        {
            return 30;
        }
        case 2:
        {
            if ((year % 4 == 0 && year % 100 != 0) || (year % 400 == 0))
                return 29; // Leap year
            else
                return 28;
        }
        default:
            return 30; // Default case, should not happen
    }
}

/* USER CODE END 4 */

void Error_Handler(void)
{
  __disable_irq();
  while (1)
  {
  }
}
